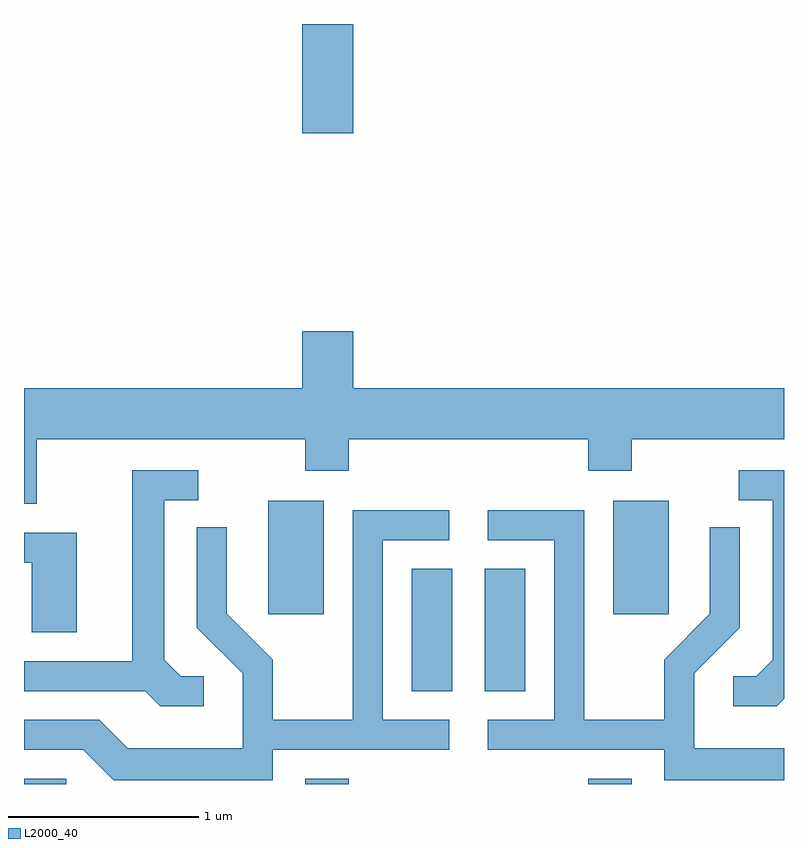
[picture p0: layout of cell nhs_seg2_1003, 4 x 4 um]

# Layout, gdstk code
import gdstk
lib = gdstk.Library(unit=1e-6, precision=1e-09)
def R(c, l, rs):  # rectangles x0, y0, x1, y1
    for r in rs: c.add(gdstk.rectangle(r[:2], r[2:], *l))
def P(c, l, *ps):  # polygons
    for p in ps: c.add(gdstk.Polygon(p, *l))
L2000_40 = (2000, 40)

nhs_seg2_1003 = lib.new_cell('nhs_seg2_1003')
R(nhs_seg2_1003, L2000_40, [(213.611,1079.802,213.834,1079.829), (215.091,1079.802,215.319,1079.829), (216.581,1079.802,216.809,1079.829), (215.651,1080.291,215.864,1080.934), (216.036,1080.291,216.249,1080.934), (214.896,1080.696,215.189,1081.294), (216.711,1080.696,217.004,1081.294), (215.076,1083.226,215.344,1083.802)])
P(nhs_seg2_1003, L2000_40, [(213.679,1081.616),(215.091,1081.616),(215.091,1081.451),(215.319,1081.451),(215.319,1081.616),(216.581,1081.616),(216.581,1081.451),(216.809,1081.451),(216.809,1081.616),(217.611,1081.616),(217.611,1081.884),(215.344,1081.884),(215.344,1082.184),(215.076,1082.184),(215.076,1081.884),(213.611,1081.884),(213.611,1081.276),(213.679,1081.276)],
  [(217.611,1080.25),(217.611,1081.454),(217.373,1081.454),(217.373,1081.296),(217.551,1081.296),(217.551,1080.457),(217.464,1080.369),(217.343,1080.369),(217.343,1080.211),(217.572,1080.211)],
  [(214.558,1080.369),(214.437,1080.369),(214.349,1080.457),(214.349,1081.296),(214.528,1081.296),(214.528,1081.454),(214.181,1081.454),(214.181,1080.449),(213.611,1080.449),(213.611,1080.291),(214.249,1080.291),(214.329,1080.211),(214.558,1080.211)],
  [(214.919,1079.981),(215.848,1079.981),(215.848,1080.139),(215.499,1080.139),(215.499,1081.086),(215.848,1081.086),(215.848,1081.244),(215.341,1081.244),(215.341,1080.139),(214.919,1080.139),(214.919,1080.457),(214.679,1080.697),(214.679,1081.153),(214.521,1081.153),(214.521,1080.624),(214.761,1080.384),(214.761,1079.989),(214.157,1079.989),(214.007,1080.139),(213.611,1080.139),(213.611,1079.981),(213.924,1079.981),(214.084,1079.821),(214.919,1079.821)],
  [(217.611,1079.989),(217.139,1079.989),(217.139,1080.384),(217.379,1080.624),(217.379,1081.153),(217.221,1081.153),(217.221,1080.697),(216.981,1080.457),(216.981,1080.139),(216.559,1080.139),(216.559,1081.244),(216.053,1081.244),(216.053,1081.086),(216.401,1081.086),(216.401,1080.139),(216.053,1080.139),(216.053,1079.981),(216.981,1079.981),(216.981,1079.821),(217.611,1079.821)],
  [(213.889,1081.124),(213.611,1081.124),(213.611,1080.966),(213.651,1080.966),(213.651,1080.601),(213.889,1080.601)])

lib.write_gds('nhs_seg2_1003.gds')
